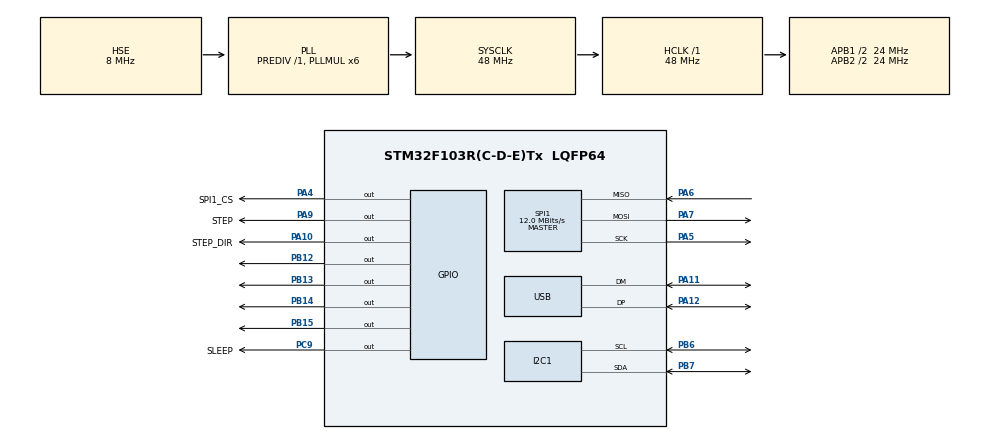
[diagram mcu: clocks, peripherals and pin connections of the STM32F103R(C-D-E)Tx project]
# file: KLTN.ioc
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Mcu.Family=STM32F1
Mcu.Name=STM32F103R(C-D-E)Tx
Mcu.Package=LQFP64
NVIC.PriorityGroup=NVIC_PRIORITYGROUP_4
NVIC.USB_LP_CAN1_RX0_IRQn=true\:0\:0\:false\:false\:true\:false\:true\:true
PA10.GPIO_Label=STEP_DIR
PA10.Signal=GPIO_Output
PA11.Mode=Device
PA11.Signal=USB_DM
PA12.Mode=Device
PA12.Signal=USB_DP
PA13.Mode=Serial_Wire
PA13.Signal=SYS_JTMS-SWDIO
PA14.Mode=Serial_Wire
PA14.Signal=SYS_JTCK-SWCLK
PA4.GPIO_Label=SPI1_CS
PA4.Signal=GPIO_Output
PA5.Mode=Full_Duplex_Master
PA5.Signal=SPI1_SCK
PA6.Mode=Full_Duplex_Master
PA6.Signal=SPI1_MISO
PA7.Mode=Full_Duplex_Master
PA7.Signal=SPI1_MOSI
PA9.GPIO_Label=STEP
PA9.Signal=GPIO_Output
PB12.Signal=GPIO_Output
PB13.Signal=GPIO_Output
PB14.Signal=GPIO_Output
PB15.Signal=GPIO_Output
PB6.Mode=I2C
PB6.Signal=I2C1_SCL
PB7.Mode=I2C
PB7.Signal=I2C1_SDA
PC14-OSC32_IN.Mode=LSE-External-Oscillator
PC14-OSC32_IN.Signal=RCC_OSC32_IN
PC15-OSC32_OUT.Mode=LSE-External-Oscillator
PC15-OSC32_OUT.Signal=RCC_OSC32_OUT
PC9.GPIO_Label=SLEEP
PC9.Signal=GPIO_Output
PD0-OSC_IN.Mode=HSE-External-Oscillator
PD0-OSC_IN.Signal=RCC_OSC_IN
PD1-OSC_OUT.Mode=HSE-External-Oscillator
PD1-OSC_OUT.Signal=RCC_OSC_OUT
ProjectManager.HeapSize=0x200
ProjectManager.StackSize=0x400
ProjectManager.TargetToolchain=STM32CubeIDE
RCC.AHBFreq_Value=48000000
RCC.APB1CLKDivider=RCC_HCLK_DIV2
RCC.APB1Freq_Value=24000000
RCC.APB1TimFreq_Value=48000000
RCC.APB2CLKDivider=RCC_HCLK_DIV2
RCC.APB2Freq_Value=24000000
RCC.APB2TimFreq_Value=48000000
RCC.HCLKFreq_Value=48000000
RCC.PLLMUL=RCC_PLL_MUL6
RCC.SYSCLKFreq_VALUE=48000000
RCC.SYSCLKSource=RCC_SYSCLKSOURCE_PLLCLK
RCC.USBFreq_Value=48000000
SPI1.CalculateBaudRate=12.0 MBits/s
SPI1.Direction=SPI_DIRECTION_2LINES
SPI1.Mode=SPI_MODE_MASTER
SPI1.VirtualType=VM_MASTER
USB.low_power_enable=DISABLE
USB_DEVICE.APP_RX_DATA_SIZE=64
USB_DEVICE.APP_TX_DATA_SIZE=64
USB_DEVICE.CLASS_NAME_FS=CDC
USB_DEVICE.USBD_MAX_STR_DESC_SIZ=512
USB_DEVICE.VirtualMode=Cdc
USB_DEVICE.VirtualModeFS=Cdc_FS
VP_USB_DEVICE_VS_USB_DEVICE_CDC_FS.Mode=CDC_FS
board=custom

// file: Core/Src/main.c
/* USER CODE BEGIN Header */
/**
  ******************************************************************************
  * @file           : main.c
  * @brief          : Main program body
  ******************************************************************************
  * @attention
  *
  * <h2><center>&copy; Copyright (c) 2022 STMicroelectronics.
  * All rights reserved.</center></h2>
  *
  * This software component is licensed by ST under BSD 3-Clause license,
  * the "License"; You may not use this file except in compliance with the
  * License. You may obtain a copy of the License at:
  *                        opensource.org/licenses/BSD-3-Clause
  *
  ******************************************************************************
  */
/* USER CODE END Header */

#include "main.h"
#include "usb_device.h"

/* USER CODE BEGIN Includes */
#include "usbd_cdc_if.h"
#include "string.h"
#include "pca9685.h"

/* USER CODE END Includes */

I2C_HandleTypeDef hi2c1;

SPI_HandleTypeDef hspi1;

/* USER CODE BEGIN PV */
extern char ReceivedData[100];
extern uint8_t Rxcount;
extern uint32_t dataSize;
extern uint8_t check;
// Message animation received from Jetson
char s1[] = "GoLeft";
char s2[] = "GoRight";
char s3[] = "Forward";
char s4[] = "Back";
char s5[] = "Left";
char s6[] = "Right";
char s7[] = "Neckup";
char s8[] = "NeckDown";
char s9[] = "Nod";
char s10[] = "RightHand";
char s11[] = "LeftHand";
char s12[] = "LRHand";
char s13[] = "ShakeHand";
// Value to feedback neck
int countRight = 0;
int countLeft = 0;
// Data test USB CDC
uint8_t data[100] = "STM32 USB CDC\r\n";

uint32_t Time=0;
//void PS2_send(unsigned char commands[], unsigned char data[], int length);
uint8_t RXD[21] = {0};
uint8_t TXD[21] = {0};
uint8_t analog_mode[9] = {0x01,0x44,0x00,0x01,0x03,0,0,0,0};

uint8_t TEST;
uint8_t count=0;
uint8_t one_time_animation=1;
uint8_t servo_angle[9]={75,75,60,60,60,60,60,60,60};

/* USER CODE END PV */

void SystemClock_Config(void);
static void MX_GPIO_Init(void);
static void MX_I2C1_Init(void);
static void MX_SPI1_Init(void);
/* USER CODE BEGIN PFP */
void goRight();
void goLeft();
void forward();
void back();
void leftNeck();
void rightNeck();
void neckUp();
void neckDown();
void right_arm(uint8_t up_down, uint8_t in_out) ;
void left_arm(uint8_t up_down, uint8_t in_out);
void leftHand();
void rightHand();
void LRHand();
void shakeHand();
void hello();
void bye();
void nod();
void stop();
/* USER CODE END PFP */

int main(void)
{

  /* MCU Configuration--------------------------------------------------------*/

  /* Reset of all peripherals, Initializes the Flash interface and the Systick. */

  HAL_Init();

  /* USER CODE BEGIN Init */
  TXD[0] = 0x01;
  TXD[1] = 0x42;
  HAL_GPIO_WritePin(SPI1_CS_GPIO_Port, SPI1_CS_Pin, GPIO_PIN_RESET);
  /* USER CODE END Init */

  /* Configure the system clock */
  SystemClock_Config();

  /* Initialize all configured peripherals */
  MX_GPIO_Init();
  MX_USB_DEVICE_Init();
  MX_I2C1_Init();
  MX_SPI1_Init();
  /* USER CODE BEGIN 2 */
  PCA9685_Init(&hi2c1);
  for (int i = 0; i < 9; i++) {
  	PCA9685_SetServoAngle(i, servo_angle[i]);
  	HAL_Delay(1000);
  	}

  HAL_GPIO_WritePin(GPIOA, STEP_Pin, GPIO_PIN_RESET);
  HAL_GPIO_WritePin(GPIOA, STEP_DIR_Pin, GPIO_PIN_RESET);
  /* USER CODE END 2 */

  /* Infinite loop */
  while (1)
  {

    /* USER CODE BEGIN 3 */
	  //CDC_Transmit_FS(data, strlen(data));
	  	  if(check == 1){ //neu co du lieu den thi truyen di du lieu vua nhan duoc
		  		CDC_Transmit_FS((uint8_t *)ReceivedData, strlen(ReceivedData));
		  		if(strcmp(ReceivedData, s1) == 0){
		  				goLeft();
		  		}

		  		else if(strcmp(ReceivedData, s2) == 0){
		  				goRight();
		  		}

		  		else if(strcmp(ReceivedData, s3) == 0){
		  				forward();
		  		}

		  		else if(strcmp(ReceivedData, s4) == 0){
		  				back();
		  		}

		  		else if(strcmp(ReceivedData, s6) == 0){
		  				countRight += 1;
		  				leftNeck();
		  			  	if(countRight > 10){
		  			  		for (int i = 0; i < 10; i++){
								rightNeck();
						  		countRight--;
								for(int j = 0; j < 1; j++){
									goRight();
							  		PCA9685_SetServoAngle(0, servo_angle[0]);
							  		PCA9685_SetServoAngle(1, servo_angle[1]);
								}
		  			  		}
		  			  	}
		  			  	stop();
		  		}

		  		else if(strcmp(ReceivedData, s5) == 0){
						countLeft += 1;
						rightNeck();
						if(countLeft > 10){
							for (int i = 0; i < 10; i++){
								leftNeck();
								countLeft--;
								for(int j = 0; j < 5; j++){
									goLeft();
							  		PCA9685_SetServoAngle(0, servo_angle[0]);
							  		PCA9685_SetServoAngle(1, servo_angle[1]);
								}
							}
						}
						stop();
		  		}

		  		else if(strcmp(ReceivedData, s7) == 0){
		  			neckUp();
		  		}

		  		else if(strcmp(ReceivedData, s8) == 0){
		  			neckDown();
		  		}

		  		else if(strcmp(ReceivedData, s9) == 0){
		  			nod();
		  			neckDown();
		  		}

		  		else if(strcmp(ReceivedData, s10) == 0){
		  			rightHand();
		  		}

		  		else if(strcmp(ReceivedData, s11) == 0){
		  			leftHand();
		  		}

		  		else if(strcmp(ReceivedData, s12) == 0){
		  			LRHand();
		  		}

		  		else if(strcmp(ReceivedData, s13) == 0){
		  			shakeHand();
		  		}

		  		else{
		  			stop();
		  		}

		  		for (int i = 0; i < 9; i++) {
		  		 	PCA9685_SetServoAngle(i, servo_angle[i]);
		  		}

		  		for(int i = 0; i < dataSize; i++)
		  		{
		  			ReceivedData[i] = 0;
		  		}
		  		check = 0;
		  	}

//	 	HAL_GPIO_WritePin(SPI1_CS_GPIO_Port, SPI1_CS_Pin, GPIO_PIN_RESET);
//	 	//HAL_Delay(1);
//	 	for (int i = 0; i < 9; i++) {
//	 		while (HAL_SPI_GetState(&hspi1) == HAL_SPI_STATE_BUSY_TX_RX) {
//	 		}
//	 		HAL_SPI_TransmitReceive(&hspi1, &TXD[i], &RXD[i], 1, 10);
//			//HAL_Delay(15/1000);
//	 	}
//	 	HAL_GPIO_WritePin(SPI1_CS_GPIO_Port, SPI1_CS_Pin, GPIO_PIN_SET);
//	 	HAL_Delay(1);
//	 	HAL_GPIO_TogglePin(GPIOB, GPIO_PIN_12);

	 	// select analog mode
//	 	if (RXD[1] == 115) {
//	 		// servo[0] & servo[1] is left right esc to control left and right motor
//	 		// angle = 75 mean stop. higher value is forward while lower is back.
//	 		//left motor back
//	 		if (!(RXD[4] >> 2 & 1)) {
//	 			servo_angle[0]++;
//	 			if (servo_angle[0] > 150)
//					servo_angle[0] = 150;
//	 		} else if (!(RXD[4] >> 0 & 1)) { //left motor forward
//	 			servo_angle[0]--;
//	 			if (servo_angle[0] < 1)
//	 				servo_angle[0] = 1;
//	 		} else {
//	 			if (servo_angle[0] > 75)
//	 				servo_angle[0]--;
//	 			if (servo_angle[0] < 75)
//	 				servo_angle[0]++;
//	 		}
//	 		//right motor forward
//	 		if (!(RXD[4] >> 3 & 1)) {
//	 			servo_angle[1]++;
//	 			if (servo_angle[1] > 150)
//	 				servo_angle[1] = 150;
//	 		} else if (!(RXD[4] >> 1 & 1)) { //right motor back
//	 			servo_angle[1]--;
//	 			if (servo_angle[1] < 1)
//	 				servo_angle[1] = 1;
//	 		} else {
//	 			if (servo_angle[1] > 75)
//	 				servo_angle[1]--;
//	 			if (servo_angle[1] < 75)
//	 				servo_angle[1]++;
//	 		}
//
//	 		switch (RXD[3]) {
//	 		case 239:		//NECK UP
//	 			servo_angle[2]++;
//	 			if (servo_angle[2] > 180)
//	 				servo_angle[2] = 180;
//	 			break;
//	 		case 191:		//NECK DOWN
//	 			servo_angle[2]--;
//	 			if (servo_angle[2] < 1)
//	 				servo_angle[2] = 1;
//	 			break;
//	 		case 127:
//	 			//TURN ON STEPPER
//	 			HAL_GPIO_WritePin(SLEEP_GPIO_Port, SLEEP_Pin, GPIO_PIN_SET);
//	 			//SET DIRECT = 0
//	 			HAL_GPIO_WritePin(GPIOA, STEP_DIR_Pin, GPIO_PIN_RESET);
//	 			for (count = 0; count < 100; count++) {
//	 				HAL_GPIO_WritePin(GPIOA, STEP_Pin, GPIO_PIN_SET);
//	 				HAL_Delay(0.01);
//	 				HAL_GPIO_WritePin(GPIOA, STEP_Pin, GPIO_PIN_RESET);
//	 				HAL_Delay(0.01);
//	 			}
//	 			HAL_GPIO_WritePin(SLEEP_GPIO_Port, SLEEP_Pin, GPIO_PIN_RESET);
//	 			break;
//	 		case 223:
//	 			//TURN ON STEPPER
//	 			HAL_GPIO_WritePin(SLEEP_GPIO_Port, SLEEP_Pin, GPIO_PIN_SET);
//	 			//SET DIRECT = 1
//	 			HAL_GPIO_WritePin(GPIOA, STEP_DIR_Pin, GPIO_PIN_SET);
//	 			for (count = 0; count < 100; count++) {
//	 				HAL_GPIO_WritePin(GPIOA, STEP_Pin, GPIO_PIN_SET);
//	 				HAL_Delay(0.01);
//	 				HAL_GPIO_WritePin(GPIOA, STEP_Pin, GPIO_PIN_RESET);
//	 				HAL_Delay(0.01);
//	 			}
//	 			HAL_GPIO_WritePin(SLEEP_GPIO_Port, SLEEP_Pin, GPIO_PIN_RESET);
//	 			break;
//	 		case 255:
//	 			//TURN OFF STEPPER
//	 			HAL_GPIO_WritePin(SLEEP_GPIO_Port, SLEEP_Pin, GPIO_PIN_RESET);
//	 			break;
//	 		}
//	 		//left shoulder up-down
//	 		if (RXD[6] > 200)
//	 			servo_angle[3]++;
//	 		if (RXD[6] < 50)
//	 			servo_angle[3]--;
//	 		if (servo_angle[3] < 1)
//	 			servo_angle[3] = 1;
//	 		if (servo_angle[3] > 180)
//	 			servo_angle[3] = 180;
//	 		//left shoulder in-out
//	 		if (RXD[5] > 200)
//	 			servo_angle[4]++;
//	 		if (RXD[5] < 50)
//	 			servo_angle[4]--;
//	 		if (servo_angle[4] < 1)
//	 			servo_angle[4] = 1;
//	 		if (servo_angle[4] > 180)
//	 			servo_angle[4] = 180;
//	 		//right shoulder up-down
//	 		if (RXD[8] > 200)
//	 			servo_angle[5]++;
//	 		if (RXD[8] < 50)
//	 			servo_angle[5]--;
//	 		if (servo_angle[5] < 1)
//	 			servo_angle[5] = 1;
//	 		if (servo_angle[5] > 180)
//	 			servo_angle[5] = 180;
//	 		//right shoulder up-down
//	 		if (RXD[7] > 200)
//	 			servo_angle[6]++;
//	 		if (RXD[7] < 50)
//	 			servo_angle[6]--;
//	 		if (servo_angle[6] < 1)
//	 			servo_angle[6] = 1;
//	 		if (servo_angle[6] > 180)
//	 			servo_angle[6] = 180;
//	 		//hello
//	 		if (!(RXD[4] >> 6 & 1)) {
//	 			if (one_time_animation)
//	 				hello();
//	 			one_time_animation = 1 - one_time_animation;
//	 		}
//	 		//bye
//	 		if (!(RXD[4] >> 4 & 1)) {
//	 			if (one_time_animation)
//	 				bye();
//	 			one_time_animation = 1 - one_time_animation;
//	 		}
//	 		TEST=!(RXD[3] >> 1 & 1);
//	 		//left hand
//	 		if (!(RXD[3] >> 1 & 1)) {
//	 			if (servo_angle[7] < 60)
//	 				servo_angle[7]++;
//	 		} else if (servo_angle[7] > 2) {
//	 			servo_angle[7]--;
//	 		}
//	 		//right hand
//	 		if (!(RXD[3] >> 2 & 1)) {
//	 			if (servo_angle[8] < 60)
//	 				servo_angle[8]++;
//	 		} else if (servo_angle[8] > 2) {
//	 			servo_angle[8]--;
//	 		}

//  	}

  }
  /* USER CODE END 3 */
}

void SystemClock_Config(void)
{
  RCC_OscInitTypeDef RCC_OscInitStruct = {0};
  RCC_ClkInitTypeDef RCC_ClkInitStruct = {0};
  RCC_PeriphCLKInitTypeDef PeriphClkInit = {0};

  /** Initializes the CPU, AHB and APB busses clocks
  */
  RCC_OscInitStruct.OscillatorType = RCC_OSCILLATORTYPE_HSE;
  RCC_OscInitStruct.HSEState = RCC_HSE_ON;
  RCC_OscInitStruct.HSEPredivValue = RCC_HSE_PREDIV_DIV1;
  RCC_OscInitStruct.HSIState = RCC_HSI_ON;
  RCC_OscInitStruct.PLL.PLLState = RCC_PLL_ON;
  RCC_OscInitStruct.PLL.PLLSource = RCC_PLLSOURCE_HSE;
  RCC_OscInitStruct.PLL.PLLMUL = RCC_PLL_MUL6;
  if (HAL_RCC_OscConfig(&RCC_OscInitStruct) != HAL_OK)
  {
    Error_Handler();
  }
  /** Initializes the CPU, AHB and APB busses clocks
  */
  RCC_ClkInitStruct.ClockType = RCC_CLOCKTYPE_HCLK|RCC_CLOCKTYPE_SYSCLK
                              |RCC_CLOCKTYPE_PCLK1|RCC_CLOCKTYPE_PCLK2;
  RCC_ClkInitStruct.SYSCLKSource = RCC_SYSCLKSOURCE_PLLCLK;
  RCC_ClkInitStruct.AHBCLKDivider = RCC_SYSCLK_DIV1;
  RCC_ClkInitStruct.APB1CLKDivider = RCC_HCLK_DIV2;
  RCC_ClkInitStruct.APB2CLKDivider = RCC_HCLK_DIV2;

  if (HAL_RCC_ClockConfig(&RCC_ClkInitStruct, FLASH_LATENCY_1) != HAL_OK)
  {
    Error_Handler();
  }
  PeriphClkInit.PeriphClockSelection = RCC_PERIPHCLK_USB;
  PeriphClkInit.UsbClockSelection = RCC_USBCLKSOURCE_PLL;
  if (HAL_RCCEx_PeriphCLKConfig(&PeriphClkInit) != HAL_OK)
  {
    Error_Handler();
  }
}

static void MX_I2C1_Init(void)
{

  hi2c1.Instance = I2C1;
  hi2c1.Init.ClockSpeed = 100000;
  hi2c1.Init.DutyCycle = I2C_DUTYCYCLE_2;
  hi2c1.Init.OwnAddress1 = 0;
  hi2c1.Init.AddressingMode = I2C_ADDRESSINGMODE_7BIT;
  hi2c1.Init.DualAddressMode = I2C_DUALADDRESS_DISABLE;
  hi2c1.Init.OwnAddress2 = 0;
  hi2c1.Init.GeneralCallMode = I2C_GENERALCALL_DISABLE;
  hi2c1.Init.NoStretchMode = I2C_NOSTRETCH_DISABLE;
  if (HAL_I2C_Init(&hi2c1) != HAL_OK)
  {
    Error_Handler();
  }

}

static void MX_SPI1_Init(void)
{

  /* SPI1 parameter configuration*/
  hspi1.Instance = SPI1;
  hspi1.Init.Mode = SPI_MODE_MASTER;
  hspi1.Init.Direction = SPI_DIRECTION_2LINES;
  hspi1.Init.DataSize = SPI_DATASIZE_8BIT;
  hspi1.Init.CLKPolarity = SPI_POLARITY_LOW;
  hspi1.Init.CLKPhase = SPI_PHASE_1EDGE;
  hspi1.Init.NSS = SPI_NSS_SOFT;
  hspi1.Init.BaudRatePrescaler = SPI_BAUDRATEPRESCALER_2;
  hspi1.Init.FirstBit = SPI_FIRSTBIT_MSB;
  hspi1.Init.TIMode = SPI_TIMODE_DISABLE;
  hspi1.Init.CRCCalculation = SPI_CRCCALCULATION_DISABLE;
  hspi1.Init.CRCPolynomial = 10;
  if (HAL_SPI_Init(&hspi1) != HAL_OK)
  {
    Error_Handler();
  }

}

static void MX_GPIO_Init(void)
{
  GPIO_InitTypeDef GPIO_InitStruct = {0};

  /* GPIO Ports Clock Enable */
  __HAL_RCC_GPIOC_CLK_ENABLE();
  __HAL_RCC_GPIOD_CLK_ENABLE();
  __HAL_RCC_GPIOA_CLK_ENABLE();
  __HAL_RCC_GPIOB_CLK_ENABLE();

  /*Configure GPIO pin Output Level */
  HAL_GPIO_WritePin(GPIOA, SPI1_CS_Pin|STEP_Pin|STEP_DIR_Pin, GPIO_PIN_RESET);

  /*Configure GPIO pin Output Level */
  HAL_GPIO_WritePin(GPIOB, GPIO_PIN_12|GPIO_PIN_13|GPIO_PIN_14|GPIO_PIN_15, GPIO_PIN_RESET);

  /*Configure GPIO pin Output Level */
  HAL_GPIO_WritePin(SLEEP_GPIO_Port, SLEEP_Pin, GPIO_PIN_RESET);

  /*Configure GPIO pins : SPI1_CS_Pin STEP_Pin STEP_DIR_Pin */
  GPIO_InitStruct.Pin = SPI1_CS_Pin|STEP_Pin|STEP_DIR_Pin;
  GPIO_InitStruct.Mode = GPIO_MODE_OUTPUT_PP;
  GPIO_InitStruct.Pull = GPIO_NOPULL;
  GPIO_InitStruct.Speed = GPIO_SPEED_FREQ_LOW;
  HAL_GPIO_Init(GPIOA, &GPIO_InitStruct);

  /*Configure GPIO pins : PB12 PB13 PB14 PB15 */
  GPIO_InitStruct.Pin = GPIO_PIN_12|GPIO_PIN_13|GPIO_PIN_14|GPIO_PIN_15;
  GPIO_InitStruct.Mode = GPIO_MODE_OUTPUT_PP;
  GPIO_InitStruct.Pull = GPIO_NOPULL;
  GPIO_InitStruct.Speed = GPIO_SPEED_FREQ_LOW;
  HAL_GPIO_Init(GPIOB, &GPIO_InitStruct);

  /*Configure GPIO pin : SLEEP_Pin */
  GPIO_InitStruct.Pin = SLEEP_Pin;
  GPIO_InitStruct.Mode = GPIO_MODE_OUTPUT_PP;
  GPIO_InitStruct.Pull = GPIO_NOPULL;
  GPIO_InitStruct.Speed = GPIO_SPEED_FREQ_LOW;
  HAL_GPIO_Init(SLEEP_GPIO_Port, &GPIO_InitStruct);

}

/* USER CODE BEGIN 4 */
void goRight(){
	servo_angle[0] += 5;
	servo_angle[1] -= 5;
	if (servo_angle[0] > 150)
		servo_angle[0] = 150;
	if (servo_angle[1] < 5)
		servo_angle[1] = 5;
}

void goLeft(){
	servo_angle[0] -= 5;
	servo_angle[1] += 5;
	if(servo_angle[0] < 5)
		servo_angle[0] = 5;
	if(servo_angle[1] > 150)
		servo_angle[1] = 150;
}

void forward(){
	servo_angle[0] += 5 ;
	servo_angle[1] += 5;
	if (servo_angle[0] > 150)
		servo_angle[0] = 150;
	if (servo_angle[1] > 150)
		servo_angle[1] = 150;
}

void back(){
	servo_angle[0] -= 5;
	servo_angle[1] -= 5;
	if (servo_angle[0] < 5)
		servo_angle[0] = 5;
	if (servo_angle[1] < 5)
		servo_angle[1] = 5;
}

void rightNeck(){
	//TURN ON STEPPER
	HAL_GPIO_WritePin(SLEEP_GPIO_Port, SLEEP_Pin, GPIO_PIN_SET);
	//SET DIRECT = 0
	HAL_GPIO_WritePin(GPIOA, STEP_DIR_Pin, GPIO_PIN_RESET);

	for (count = 0; count < 20; count++) {
		HAL_GPIO_WritePin(GPIOA, STEP_Pin, GPIO_PIN_SET);
		HAL_Delay(0.01);
		HAL_GPIO_WritePin(GPIOA, STEP_Pin, GPIO_PIN_RESET);
		HAL_Delay(0.01);
	 	}

	HAL_GPIO_WritePin(SLEEP_GPIO_Port, SLEEP_Pin, GPIO_PIN_RESET);
}

void neckUp(){
	servo_angle[2] += 5;
	if (servo_angle[2] > 180){
		servo_angle[2] = 180;
	}
	PCA9685_SetServoAngle(2, servo_angle[2]);
}

void neckDown(){
	servo_angle[2] -= 5;
	if (servo_angle[2] < 0){
		servo_angle[2] = 0;
	}
	PCA9685_SetServoAngle(2, servo_angle[2]);
}

void leftNeck(){
	//TURN ON STEPPER
	HAL_GPIO_WritePin(SLEEP_GPIO_Port, SLEEP_Pin, GPIO_PIN_SET);
	//SET DIRECT = 1
	HAL_GPIO_WritePin(GPIOA, STEP_DIR_Pin, GPIO_PIN_SET);
	for (count = 0; count < 20; count++) {
		HAL_GPIO_WritePin(GPIOA, STEP_Pin, GPIO_PIN_SET);
		HAL_Delay(0.01);
		HAL_GPIO_WritePin(GPIOA, STEP_Pin, GPIO_PIN_RESET);
		HAL_Delay(0.01);
		}

	HAL_GPIO_WritePin(SLEEP_GPIO_Port, SLEEP_Pin, GPIO_PIN_RESET);
}

void right_arm(uint8_t up_down, uint8_t in_out) {
	servo_angle[3] = up_down;
	servo_angle[4] = in_out;
	PCA9685_SetServoAngle(3, up_down);
	PCA9685_SetServoAngle(4, in_out);
}

void left_arm(uint8_t up_down, uint8_t in_out) {
	servo_angle[5] = up_down;
	servo_angle[6] = in_out;
	PCA9685_SetServoAngle(5, up_down);
	PCA9685_SetServoAngle(6, in_out);
}

void leftHand(){
	left_arm(170, 60);
	HAL_Delay(200);
	left_arm(170, 170);
	HAL_Delay(200);
	left_arm(170, 60);
	HAL_Delay(200);
	left_arm(170, 170);
	HAL_Delay(200);
	left_arm(170, 60);
	HAL_Delay(200);
	left_arm(170, 170);
	HAL_Delay(200);
	left_arm(60, 60);
	HAL_Delay(200);
}

void rightHand(){
	right_arm(170, 60);
	HAL_Delay(200);
	right_arm(170, 5);
	HAL_Delay(200);
	right_arm(170, 60);
	HAL_Delay(200);
	right_arm(170, 5);
	HAL_Delay(200);
	right_arm(170, 60);
	HAL_Delay(200);
	right_arm(170, 5);
	HAL_Delay(200);
	right_arm(60, 60);
	HAL_Delay(200);
}

void LRHand(){
	right_arm(170, 60);
	left_arm(170, 60);
	HAL_Delay(200);
	right_arm(170, 5);
	left_arm(170, 170);
	HAL_Delay(200);
	right_arm(170, 60);
	left_arm(170, 60);
	HAL_Delay(200);
	right_arm(170, 5);
	left_arm(170, 170);
	HAL_Delay(200);
	right_arm(170, 60);
	left_arm(170, 60);
	HAL_Delay(200);
	right_arm(170, 5);
	left_arm(170, 170);
	HAL_Delay(200);
	right_arm(60, 60);
	left_arm(60, 60);
	HAL_Delay(200);
}

void shakeHand(){
	left_arm(60, 60);
	HAL_Delay(300);
	left_arm(170, 60);
	HAL_Delay(300);
	left_arm(60, 60);
	HAL_Delay(300);
	left_arm(170, 60);
	HAL_Delay(300);
	left_arm(60, 60);
}

void hello(){
	left_arm(24, 108);
	HAL_Delay(500);
	right_arm(33, 25);
	HAL_Delay(500);
	right_arm(170, 58);
	HAL_Delay(500);
	right_arm(170, 10);
}

void bye() {
	left_arm(24, 108);
	HAL_Delay(1000);
	right_arm(33, 25);
	HAL_Delay(1000);
	for (int i = 0; i <= 4; i++) {
		right_arm(170, 20);
		HAL_Delay(300);
		right_arm(170, 40);
		HAL_Delay(300);
	}
}

void stop(){
	servo_angle[0] = 75;
	servo_angle[1] = 75;
}

void nod(){
	for (int i = 0; i < 2; i++){
		for (int x = 0; x < 10; x++){
			neckDown();
			HAL_Delay(50);
		}
		for (int y = 0; y < 10; y++){
			neckUp();
			HAL_Delay(50);
		}
	}
}

/* USER CODE END 4 */

void Error_Handler(void)
{
}

/************************ (C) COPYRIGHT STMicroelectronics *****END OF FILE****/
